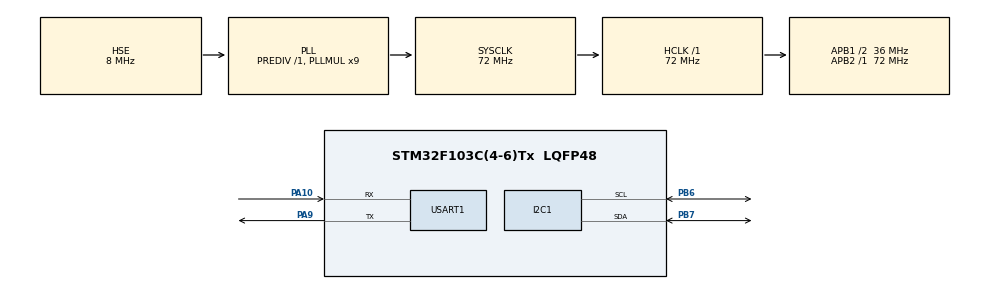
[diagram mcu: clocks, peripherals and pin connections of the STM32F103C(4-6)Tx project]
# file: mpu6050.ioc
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Mcu.Family=STM32F1
Mcu.Name=STM32F103C(4-6)Tx
Mcu.Package=LQFP48
NVIC.PriorityGroup=NVIC_PRIORITYGROUP_4
PA10.Mode=Asynchronous
PA10.Signal=USART1_RX
PA9.Mode=Asynchronous
PA9.Signal=USART1_TX
PB6.Mode=I2C
PB6.Signal=I2C1_SCL
PB7.Mode=I2C
PB7.Signal=I2C1_SDA
PD0-OSC_IN.Mode=HSE-External-Oscillator
PD0-OSC_IN.Signal=RCC_OSC_IN
PD1-OSC_OUT.Mode=HSE-External-Oscillator
PD1-OSC_OUT.Signal=RCC_OSC_OUT
ProjectManager.HeapSize=0x200
ProjectManager.StackSize=0x400
ProjectManager.TargetToolchain=STM32CubeIDE
RCC.AHBFreq_Value=72000000
RCC.APB1CLKDivider=RCC_HCLK_DIV2
RCC.APB1Freq_Value=36000000
RCC.APB1TimFreq_Value=72000000
RCC.APB2Freq_Value=72000000
RCC.APB2TimFreq_Value=72000000
RCC.HCLKFreq_Value=72000000
RCC.PLLMUL=RCC_PLL_MUL9
RCC.PLLSourceVirtual=RCC_PLLSOURCE_HSE
RCC.SYSCLKFreq_VALUE=72000000
RCC.SYSCLKSource=RCC_SYSCLKSOURCE_PLLCLK
RCC.USBFreq_Value=72000000
USART1.VirtualMode=VM_ASYNC
VP_SYS_VS_ND.Mode=No_Debug
board=custom

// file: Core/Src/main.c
/* USER CODE BEGIN Header */
/**
  ******************************************************************************
  * @file           : main.c
  * @brief          : Main program body
  ******************************************************************************
  * @attention
  *
  * Copyright (c) 2023 STMicroelectronics.
  * All rights reserved.
  *
  * This software is licensed under terms that can be found in the LICENSE file
  * in the root directory of this software component.
  * If no LICENSE file comes with this software, it is provided AS-IS.
  *
  ******************************************************************************
  */
/* USER CODE END Header */
#include "main.h"

/* USER CODE BEGIN Includes */
#include <stdio.h>
/* USER CODE END Includes */

I2C_HandleTypeDef hi2c1;

UART_HandleTypeDef huart1;

/* USER CODE BEGIN PV */
const uint8_t mpu6050Addr = 0xD0; //endereço padrão do sensor

typedef struct leituraAcel { //estrutura para armazenar as leituras do acelerometro
	int16_t accelX;
	int16_t accelY;
	int16_t accelZ;
} leituraAcel;

typedef struct leituraGyro { //estrutura para armazenar as leituras do giroscópio
	int16_t gyroX;
	int16_t gyroY;
	int16_t gyroZ;
} leituraGyro;

/* USER CODE END PV */

void SystemClock_Config(void);
static void MX_GPIO_Init(void);
static void MX_I2C1_Init(void);
static void MX_USART1_UART_Init(void);

/* USER CODE BEGIN 0 */
void mpu6050Init(void) { //inicialização e configuração do sensor
	static const uint8_t whoAmIReg = 0x75;			// identificação do sensor
	static const uint8_t pwrMgmt1Reg = 0x6B;		// gerenciamento de consumo de energia
	static const uint8_t configReg = 0x1A;			// configurações gerais
	static const uint8_t accelConfigReg = 0x1C;	// configurações do acelerometro
	static const uint8_t gyroConfigReg = 0x1B;	// configurações do giroscópio
	static unsigned char msgErro[] = "Erro na inicializacao do MPU6050";	// mensagem para falha de identificação do sensor

	uint8_t check;
	uint8_t data;

	HAL_I2C_Mem_Read(&hi2c1, mpu6050Addr, whoAmIReg, 1, &check, 1, 1000);	// armazena o conteudo de whoAmIReg em check

	if(check == 0x68) { // espera-se que este valor seja 0x68

		data = 0x08; // este valor, neste registrador, desativa o sensor de temperatura, que não será utilizado
		HAL_I2C_Mem_Write(&hi2c1, mpu6050Addr, pwrMgmt1Reg, 1, &data, 1, 1000); // escreve o valor de data em pwrMgmtReg

		data = 0x06; // este valor, neste registrador, configura o filtro passa baixas para máxima filtragem
		HAL_I2C_Mem_Write(&hi2c1, mpu6050Addr, configReg, 1, &data, 1, 1000); // escreve o valor de data em configReg

		data = 0x00; // este valor, neste registrador, mantém suas configurações padrão
		HAL_I2C_Mem_Write(&hi2c1, mpu6050Addr, accelConfigReg, 1, &data, 1, 1000); // escreve o valor de data em accelConfigReg

		data = 0x00; // este valor, neste registrador, mantém suas configurações padrão
		HAL_I2C_Mem_Write(&hi2c1, mpu6050Addr, gyroConfigReg, 1, &data, 1, 1000); // escreve o valor de data em gyroConfigReg
	} else {
		HAL_UART_Transmit(&huart1, msgErro, sizeof(msgErro), 100); // em caso de erro, envia mensagem de erro
	}
}

void mpu6050ReadAccel(leituraAcel *leitura) { // lê medições do acelerometro
	static const uint8_t accelXoutHReg = 0x3B; // primeiro registrador com as medições
	uint8_t recData[6];	// vetor com a quantidade de valores a serem armazenados

	HAL_I2C_Mem_Read(&hi2c1, mpu6050Addr, accelXoutHReg, 1, recData, 6, 1000); // lê 6 registradores a partir de accelXoutHReg e armazena os valores em recData

	leitura->accelX = (int16_t) (recData[0] << 8 | recData [1]); // para cada eixo
	leitura->accelY = (int16_t) (recData[2] << 8 | recData [3]); // concatena os valores
	leitura->accelZ = (int16_t) (recData[4] << 8 | recData [5]); // dos respectivos registradores
}

void mpu6050ReadGyro(leituraGyro *leitura) { // lê medições do giroscópio
	static const uint8_t gyroXoutHReg = 0x43; // primeiro registrador com as medições
	uint8_t recData[6];	// vetor com a quantidade de valores a serem armazenados

	HAL_I2C_Mem_Read(&hi2c1, mpu6050Addr, gyroXoutHReg, 1, recData, 6, 1000); // lê 6 registradores a partir de gyroXoutHReg e armazena os valores em recData

	leitura->gyroX = (int16_t) (recData[0] << 8 | recData [1]); // para cada eixo
	leitura->gyroY = (int16_t) (recData[2] << 8 | recData [3]); // concatena os valores
	leitura->gyroZ = (int16_t) (recData[4] << 8 | recData [5]); // dos respectivos registradores
}
/* USER CODE END 0 */

int main(void)
{
  /* USER CODE BEGIN 1 */
	uint8_t mensagem[128] = {0}; // buffer com bytes o suficiente para armazenar a mensagem
	leituraAcel leituraA;
	leituraGyro leituraG;
  /* USER CODE END 1 */

  /* MCU Configuration--------------------------------------------------------*/

  /* Reset of all peripherals, Initializes the Flash interface and the Systick. */
  HAL_Init();

  /* Configure the system clock */
  SystemClock_Config();

  /* Initialize all configured peripherals */
  MX_GPIO_Init();
  MX_I2C1_Init();
  MX_USART1_UART_Init();
  /* USER CODE BEGIN 2 */
  mpu6050Init(); // inicializa o sensor
  /* USER CODE END 2 */

  /* Infinite loop */
  while(1) {
	  mpu6050ReadAccel(&leituraA); // lê as medições de aceleração
	  mpu6050ReadGyro(&leituraG);	 // lê as medições de velocidade angular

	  float accelG[3] = {leituraA.accelX / 16384.0, leituraA.accelY / 16384.0, leituraA.accelZ / 16384.0}; // converte, com base na resolução, a leitura para g
	  float gyroGpS[3] = {leituraG.gyroX / 131.0, leituraG.gyroY / 131.0, leituraG.gyroZ / 131.0};				 // converte, com base na resolução, a leitura para  °/s

	  /* armazena, em mensagem, uma string formatada conforme o segundo argumento e composta pelos argumentos seguintes */
    sprintf((char *) mensagem, "a (x, y, z) [g]: %.2f %.2f %.2f | v (x, y, z) [°/s]: %.2f %.2f %.2f\r\n",
    																	accelG[0], accelG[1], accelG[2], gyroGpS[0], gyroGpS[1], gyroGpS[2]);
    HAL_UART_Transmit(&huart1, mensagem, sizeof(mensagem), 100); // envia mensagem pela UART1
    HAL_Delay(100); // aguarda 100 ms
  }
}

void SystemClock_Config(void)
{
  RCC_OscInitTypeDef RCC_OscInitStruct = {0};
  RCC_ClkInitTypeDef RCC_ClkInitStruct = {0};

  /** Initializes the RCC Oscillators according to the specified parameters
  * in the RCC_OscInitTypeDef structure.
  */
  RCC_OscInitStruct.OscillatorType = RCC_OSCILLATORTYPE_HSE;
  RCC_OscInitStruct.HSEState = RCC_HSE_ON;
  RCC_OscInitStruct.HSEPredivValue = RCC_HSE_PREDIV_DIV1;
  RCC_OscInitStruct.HSIState = RCC_HSI_ON;
  RCC_OscInitStruct.PLL.PLLState = RCC_PLL_ON;
  RCC_OscInitStruct.PLL.PLLSource = RCC_PLLSOURCE_HSE;
  RCC_OscInitStruct.PLL.PLLMUL = RCC_PLL_MUL9;
  if (HAL_RCC_OscConfig(&RCC_OscInitStruct) != HAL_OK)
  {
    Error_Handler();
  }

  /** Initializes the CPU, AHB and APB buses clocks
  */
  RCC_ClkInitStruct.ClockType = RCC_CLOCKTYPE_HCLK|RCC_CLOCKTYPE_SYSCLK
                              |RCC_CLOCKTYPE_PCLK1|RCC_CLOCKTYPE_PCLK2;
  RCC_ClkInitStruct.SYSCLKSource = RCC_SYSCLKSOURCE_PLLCLK;
  RCC_ClkInitStruct.AHBCLKDivider = RCC_SYSCLK_DIV1;
  RCC_ClkInitStruct.APB1CLKDivider = RCC_HCLK_DIV2;
  RCC_ClkInitStruct.APB2CLKDivider = RCC_HCLK_DIV1;

  if (HAL_RCC_ClockConfig(&RCC_ClkInitStruct, FLASH_LATENCY_2) != HAL_OK)
  {
    Error_Handler();
  }
}

static void MX_I2C1_Init(void)
{

  hi2c1.Instance = I2C1;
  hi2c1.Init.ClockSpeed = 100000;
  hi2c1.Init.DutyCycle = I2C_DUTYCYCLE_2;
  hi2c1.Init.OwnAddress1 = 0;
  hi2c1.Init.AddressingMode = I2C_ADDRESSINGMODE_7BIT;
  hi2c1.Init.DualAddressMode = I2C_DUALADDRESS_DISABLE;
  hi2c1.Init.OwnAddress2 = 0;
  hi2c1.Init.GeneralCallMode = I2C_GENERALCALL_DISABLE;
  hi2c1.Init.NoStretchMode = I2C_NOSTRETCH_DISABLE;
  if (HAL_I2C_Init(&hi2c1) != HAL_OK)
  {
    Error_Handler();
  }

}

static void MX_USART1_UART_Init(void)
{

  huart1.Instance = USART1;
  huart1.Init.BaudRate = 115200;
  huart1.Init.WordLength = UART_WORDLENGTH_8B;
  huart1.Init.StopBits = UART_STOPBITS_1;
  huart1.Init.Parity = UART_PARITY_NONE;
  huart1.Init.Mode = UART_MODE_TX_RX;
  huart1.Init.HwFlowCtl = UART_HWCONTROL_NONE;
  huart1.Init.OverSampling = UART_OVERSAMPLING_16;
  if (HAL_UART_Init(&huart1) != HAL_OK)
  {
    Error_Handler();
  }

}

static void MX_GPIO_Init(void)
{

  /* GPIO Ports Clock Enable */
  __HAL_RCC_GPIOD_CLK_ENABLE();
  __HAL_RCC_GPIOA_CLK_ENABLE();
  __HAL_RCC_GPIOB_CLK_ENABLE();

}

void Error_Handler(void)
{
  __disable_irq();
  while (1)
  {
  }
}
